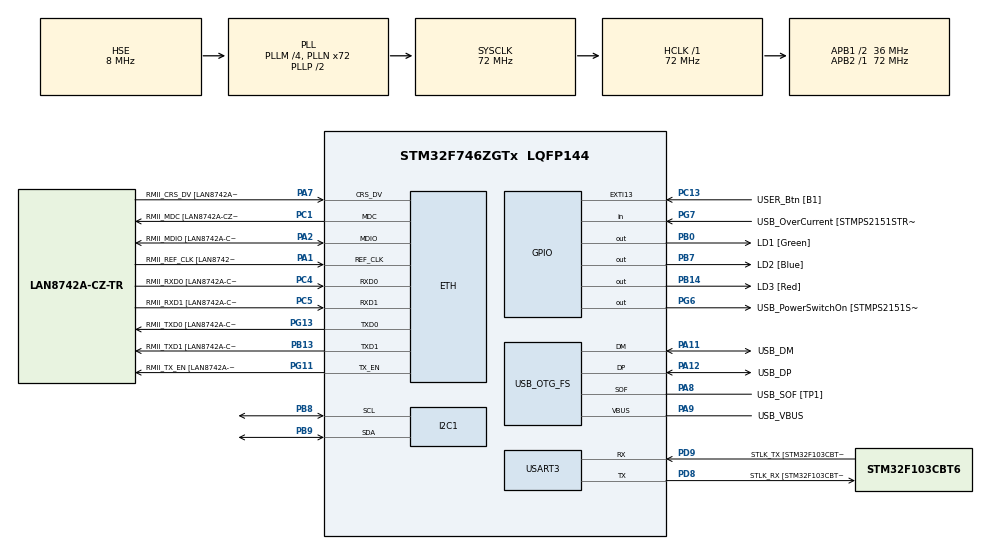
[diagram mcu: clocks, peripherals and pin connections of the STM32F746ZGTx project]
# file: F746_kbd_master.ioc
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ETH.MediaInterface=ETH_MEDIA_INTERFACE_RMII
ETH.PHY_Name=LAN8742A_PHY_ADDRESS
ETH.PHY_Value=0
ETH.PhyAddress=0
I2C1.Timing=0x00808CD2
Mcu.Family=STM32F7
Mcu.Name=STM32F746ZGTx
Mcu.Package=LQFP144
NVIC.PriorityGroup=NVIC_PRIORITYGROUP_4
PA1.GPIO_Label=RMII_REF_CLK [LAN8742A-CZ-TR_REFCLK0]
PA1.Mode=RMII
PA1.Signal=ETH_REF_CLK
PA10.GPIO_Label=USB_ID
PA10.Signal=USB_OTG_FS_ID
PA11.GPIO_Label=USB_DM
PA11.Mode=Device_Only
PA11.Signal=USB_OTG_FS_DM
PA12.GPIO_Label=USB_DP
PA12.Mode=Device_Only
PA12.Signal=USB_OTG_FS_DP
PA13.GPIO_Label=TMS
PA13.Mode=Serial_Wire
PA13.Signal=SYS_JTMS-SWDIO
PA14.GPIO_Label=TCK
PA14.Mode=Serial_Wire
PA14.Signal=SYS_JTCK-SWCLK
PA2.GPIO_Label=RMII_MDIO [LAN8742A-CZ-TR_MDIO]
PA2.Mode=RMII
PA2.Signal=ETH_MDIO
PA7.GPIO_Label=RMII_CRS_DV [LAN8742A-CZ-TR_CRS_DV]
PA7.Mode=RMII
PA7.Signal=ETH_CRS_DV
PA8.GPIO_Label=USB_SOF [TP1]
PA8.Mode=Activate_SOF_FS
PA8.Signal=USB_OTG_FS_SOF
PA9.GPIO_Label=USB_VBUS
PA9.Mode=Activate_VBUS
PA9.Signal=USB_OTG_FS_VBUS
PB0.GPIO_Label=LD1 [Green]
PB0.Signal=GPIO_Output
PB13.GPIO_Label=RMII_TXD1 [LAN8742A-CZ-TR_TXD1]
PB13.Mode=RMII
PB13.Signal=ETH_TXD1
PB14.GPIO_Label=LD3 [Red]
PB14.Signal=GPIO_Output
PB3.GPIO_Label=SW0
PB3.Signal=SYS_JTDO-SWO
PB7.GPIO_Label=LD2 [Blue]
PB7.Signal=GPIO_Output
PB8.Mode=I2C
PB8.Signal=I2C1_SCL
PB9.Mode=I2C
PB9.Signal=I2C1_SDA
PC1.GPIO_Label=RMII_MDC [LAN8742A-CZ-TR_MDC]
PC1.Mode=RMII
PC1.Signal=ETH_MDC
PC13.GPIO_Label=USER_Btn [B1]
PC13.Signal=GPXTI13
PC14/OSC32_IN.Mode=LSE-External-Oscillator
PC14/OSC32_IN.Signal=RCC_OSC32_IN
PC15/OSC32_OUT.Mode=LSE-External-Oscillator
PC15/OSC32_OUT.Signal=RCC_OSC32_OUT
PC4.GPIO_Label=RMII_RXD0 [LAN8742A-CZ-TR_RXD0]
PC4.Mode=RMII
PC4.Signal=ETH_RXD0
PC5.GPIO_Label=RMII_RXD1 [LAN8742A-CZ-TR_RXD1]
PC5.Mode=RMII
PC5.Signal=ETH_RXD1
PD8.GPIO_Label=STLK_RX [STM32F103CBT6_PA3]
PD8.Mode=Asynchronous
PD8.Signal=USART3_TX
PD9.GPIO_Label=STLK_TX [STM32F103CBT6_PA2]
PD9.Mode=Asynchronous
PD9.Signal=USART3_RX
PG11.GPIO_Label=RMII_TX_EN [LAN8742A-CZ-TR_TXEN]
PG11.Mode=RMII
PG11.Signal=ETH_TX_EN
PG13.GPIO_Label=RMII_TXD0 [LAN8742A-CZ-TR_TXD0]
PG13.Mode=RMII
PG13.Signal=ETH_TXD0
PG6.GPIO_Label=USB_PowerSwitchOn [STMPS2151STR_EN]
PG6.Signal=GPIO_Output
PG7.GPIO_Label=USB_OverCurrent [STMPS2151STR_FAULT]
PG7.Signal=GPIO_Input
PH0/OSC_IN.GPIO_Label=MCO [STM32F103CBT6_PA8]
PH0/OSC_IN.Mode=HSE-External-Clock-Source
PH0/OSC_IN.Signal=RCC_OSC_IN
PH1/OSC_OUT.Mode=HSE-External-Clock-Source
PH1/OSC_OUT.Signal=RCC_OSC_OUT
ProjectManager.HeapSize=0x200
ProjectManager.StackSize=0x400
ProjectManager.TargetToolchain=STM32CubeIDE
RCC.48MHZClocksFreq_Value=24000000
RCC.AHBFreq_Value=72000000
RCC.APB1CLKDivider=RCC_HCLK_DIV2
RCC.APB1Freq_Value=36000000
RCC.APB1TimFreq_Value=72000000
RCC.APB2Freq_Value=72000000
RCC.APB2TimFreq_Value=72000000
RCC.CortexFreq_Value=72000000
RCC.HCLKFreq_Value=72000000
RCC.HSE_VALUE=8000000
RCC.HSI_VALUE=16000000
RCC.PLLM=4
RCC.PLLMUL=RCC_PLL_MUL9
RCC.PLLN=72
RCC.PLLQ=3
RCC.PRESCALERUSB=RCC_USBCLKSOURCE_PLL_DIV1_5
RCC.SYSCLKFreq_VALUE=72000000
RCC.SYSCLKSource=RCC_SYSCLKSOURCE_PLLCLK
RCC.SYSCLKSourceVirtual=RCC_SYSCLKSOURCE_PLLCLK
RCC.USBFreq_Value=48000000
RCC.VCOOutputFreq_Value=144000000
USART3.VirtualMode-Asynchronous=VM_ASYNC
USB_OTG_FS.VirtualMode=Device_Only
board=NUCLEO-F746ZG

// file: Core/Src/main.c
/* USER CODE BEGIN Header */
/**
  ******************************************************************************
  * @file           : main.c
  * @brief          : Main program body
  ******************************************************************************
  * @attention
  *
  * <h2><center>&copy; Copyright (c) 2020 STMicroelectronics.
  * All rights reserved.</center></h2>
  *
  * This software component is licensed by ST under BSD 3-Clause license,
  * the "License"; You may not use this file except in compliance with the
  * License. You may obtain a copy of the License at:
  *                        opensource.org/licenses/BSD-3-Clause
  *
  ******************************************************************************
  */
/* USER CODE END Header */
#include "main.h"

/* USER CODE BEGIN Includes */
#include "RetroKbdI2C.h"
/* USER CODE END Includes */
#include <stdio.h>
#include <string.h>

ETH_HandleTypeDef heth;

I2C_HandleTypeDef hi2c1;

UART_HandleTypeDef huart3;

PCD_HandleTypeDef hpcd_USB_OTG_FS;

/* USER CODE BEGIN PV */

uint8_t buf[32];
//static char status_str[RKP_STATUS_STR_LEN];

/* USER CODE END PV */

void SystemClock_Config(void);
static void MX_GPIO_Init(void);
static void MX_ETH_Init(void);
static void MX_USART3_UART_Init(void);
static void MX_USB_OTG_FS_PCD_Init(void);
static void MX_I2C1_Init(void);

/* USER CODE BEGIN 0 */

void Print_HAL_Reply(HAL_StatusTypeDef ret_val){
	char status_str[80];

    switch(ret_val){
	case HAL_OK:
		break;
	case HAL_ERROR:
		strncat(status_str,"HAL_ERROR", 80 );
		break;
	case HAL_BUSY:
		strncat(status_str,"HAL_BUSY", 80 );
		break;
	case HAL_TIMEOUT:
		strncat(status_str,"HAL_TIMEOUT",80 );
		break;
	}
	HAL_UART_Transmit(&huart3, (uint8_t*)status_str, strlen(status_str),HAL_MAX_DELAY);
	HAL_UART_Transmit(&huart3, "\r\n", 2, HAL_MAX_DELAY);

}

/* USER CODE END 0 */

int main(void)
{
  /* USER CODE BEGIN 1 */
	uint8_t  key_val;
	char txt[80];
	char pressed_key;

  /* USER CODE END 1 */

  /* MCU Configuration--------------------------------------------------------*/

  /* Reset of all peripherals, Initializes the Flash interface and the Systick. */
  HAL_Init();

  /* Configure the system clock */
  SystemClock_Config();

  /* Initialize all configured peripherals */
  MX_GPIO_Init();
  MX_ETH_Init();
  MX_USART3_UART_Init();
  MX_USB_OTG_FS_PCD_Init();
  MX_I2C1_Init();
  /* USER CODE BEGIN 2 */
  kbd_i2c_init( &hi2c1, RKP_I2C_ADDR, RKP_MAX_DELAY);

  sprintf(txt,"Keypad I2C address %x \r\n", RKP_I2C_ADDR);
  HAL_UART_Transmit(&huart3, (uint8_t*)txt, strlen(txt),HAL_MAX_DELAY);
  //Print_HAL_Reply(ret_val);

  /* USER CODE END 2 */

  /* Infinite loop */
  /* USER CODE BEGIN WHILE */
  while (1)
  {
	  kbd_i2c_rd_key( &pressed_key);
	  //kbd_i2c_rd_key(uin8_t *pressed_key)
	  if (pressed_key != 0 ){
		  txt[0] = pressed_key;
		  txt[1] = 0x00;
		   HAL_UART_Transmit(&huart3, (uint8_t*)txt, strlen(txt), HAL_MAX_DELAY);
	   }
	   HAL_Delay(500);
    /* USER CODE END WHILE */

  }
}

void SystemClock_Config(void)
{
  RCC_OscInitTypeDef RCC_OscInitStruct = {0};
  RCC_ClkInitTypeDef RCC_ClkInitStruct = {0};
  RCC_PeriphCLKInitTypeDef PeriphClkInitStruct = {0};

  /** Configure LSE Drive Capability
  */
  HAL_PWR_EnableBkUpAccess();
  /** Configure the main internal regulator output voltage
  */
  __HAL_RCC_PWR_CLK_ENABLE();
  __HAL_PWR_VOLTAGESCALING_CONFIG(PWR_REGULATOR_VOLTAGE_SCALE3);
  /** Initializes the RCC Oscillators according to the specified parameters
  * in the RCC_OscInitTypeDef structure.
  */
  RCC_OscInitStruct.OscillatorType = RCC_OSCILLATORTYPE_HSE;
  RCC_OscInitStruct.HSEState = RCC_HSE_BYPASS;
  RCC_OscInitStruct.PLL.PLLState = RCC_PLL_ON;
  RCC_OscInitStruct.PLL.PLLSource = RCC_PLLSOURCE_HSE;
  RCC_OscInitStruct.PLL.PLLM = 4;
  RCC_OscInitStruct.PLL.PLLN = 72;
  RCC_OscInitStruct.PLL.PLLP = RCC_PLLP_DIV2;
  RCC_OscInitStruct.PLL.PLLQ = 3;
  if (HAL_RCC_OscConfig(&RCC_OscInitStruct) != HAL_OK)
  {
    Error_Handler();
  }
  /** Initializes the CPU, AHB and APB buses clocks
  */
  RCC_ClkInitStruct.ClockType = RCC_CLOCKTYPE_HCLK|RCC_CLOCKTYPE_SYSCLK
                              |RCC_CLOCKTYPE_PCLK1|RCC_CLOCKTYPE_PCLK2;
  RCC_ClkInitStruct.SYSCLKSource = RCC_SYSCLKSOURCE_PLLCLK;
  RCC_ClkInitStruct.AHBCLKDivider = RCC_SYSCLK_DIV1;
  RCC_ClkInitStruct.APB1CLKDivider = RCC_HCLK_DIV2;
  RCC_ClkInitStruct.APB2CLKDivider = RCC_HCLK_DIV1;

  if (HAL_RCC_ClockConfig(&RCC_ClkInitStruct, FLASH_LATENCY_2) != HAL_OK)
  {
    Error_Handler();
  }
  PeriphClkInitStruct.PeriphClockSelection = RCC_PERIPHCLK_USART3|RCC_PERIPHCLK_I2C1
                              |RCC_PERIPHCLK_CLK48;
  PeriphClkInitStruct.Usart3ClockSelection = RCC_USART3CLKSOURCE_PCLK1;
  PeriphClkInitStruct.I2c1ClockSelection = RCC_I2C1CLKSOURCE_PCLK1;
  PeriphClkInitStruct.Clk48ClockSelection = RCC_CLK48SOURCE_PLL;
  if (HAL_RCCEx_PeriphCLKConfig(&PeriphClkInitStruct) != HAL_OK)
  {
    Error_Handler();
  }
}

static void MX_ETH_Init(void)
{

  heth.Instance = ETH;
  heth.Init.AutoNegotiation = ETH_AUTONEGOTIATION_ENABLE;
  heth.Init.PhyAddress = LAN8742A_PHY_ADDRESS;
  heth.Init.MACAddr[0] =   0x00;
  heth.Init.MACAddr[1] =   0x80;
  heth.Init.MACAddr[2] =   0xE1;
  heth.Init.MACAddr[3] =   0x00;
  heth.Init.MACAddr[4] =   0x00;
  heth.Init.MACAddr[5] =   0x00;
  heth.Init.RxMode = ETH_RXPOLLING_MODE;
  heth.Init.ChecksumMode = ETH_CHECKSUM_BY_HARDWARE;
  heth.Init.MediaInterface = ETH_MEDIA_INTERFACE_RMII;

  if (HAL_ETH_Init(&heth) != HAL_OK)
  {
    Error_Handler();
  }

}

static void MX_I2C1_Init(void)
{

  hi2c1.Instance = I2C1;
  hi2c1.Init.Timing = 0x00808CD2;
  hi2c1.Init.OwnAddress1 = 0;
  hi2c1.Init.AddressingMode = I2C_ADDRESSINGMODE_7BIT;
  hi2c1.Init.DualAddressMode = I2C_DUALADDRESS_DISABLE;
  hi2c1.Init.OwnAddress2 = 0;
  hi2c1.Init.OwnAddress2Masks = I2C_OA2_NOMASK;
  hi2c1.Init.GeneralCallMode = I2C_GENERALCALL_DISABLE;
  hi2c1.Init.NoStretchMode = I2C_NOSTRETCH_DISABLE;
  if (HAL_I2C_Init(&hi2c1) != HAL_OK)
  {
    Error_Handler();
  }
  /** Configure Analogue filter
  */
  if (HAL_I2CEx_ConfigAnalogFilter(&hi2c1, I2C_ANALOGFILTER_ENABLE) != HAL_OK)
  {
    Error_Handler();
  }
  /** Configure Digital filter
  */
  if (HAL_I2CEx_ConfigDigitalFilter(&hi2c1, 0) != HAL_OK)
  {
    Error_Handler();
  }

}

static void MX_USART3_UART_Init(void)
{

  huart3.Instance = USART3;
  huart3.Init.BaudRate = 115200;
  huart3.Init.WordLength = UART_WORDLENGTH_8B;
  huart3.Init.StopBits = UART_STOPBITS_1;
  huart3.Init.Parity = UART_PARITY_NONE;
  huart3.Init.Mode = UART_MODE_TX_RX;
  huart3.Init.HwFlowCtl = UART_HWCONTROL_NONE;
  huart3.Init.OverSampling = UART_OVERSAMPLING_16;
  huart3.Init.OneBitSampling = UART_ONE_BIT_SAMPLE_DISABLE;
  huart3.AdvancedInit.AdvFeatureInit = UART_ADVFEATURE_NO_INIT;
  if (HAL_UART_Init(&huart3) != HAL_OK)
  {
    Error_Handler();
  }

}

static void MX_USB_OTG_FS_PCD_Init(void)
{

  hpcd_USB_OTG_FS.Instance = USB_OTG_FS;
  hpcd_USB_OTG_FS.Init.dev_endpoints = 6;
  hpcd_USB_OTG_FS.Init.speed = PCD_SPEED_FULL;
  hpcd_USB_OTG_FS.Init.dma_enable = DISABLE;
  hpcd_USB_OTG_FS.Init.phy_itface = PCD_PHY_EMBEDDED;
  hpcd_USB_OTG_FS.Init.Sof_enable = ENABLE;
  hpcd_USB_OTG_FS.Init.low_power_enable = DISABLE;
  hpcd_USB_OTG_FS.Init.lpm_enable = DISABLE;
  hpcd_USB_OTG_FS.Init.vbus_sensing_enable = ENABLE;
  hpcd_USB_OTG_FS.Init.use_dedicated_ep1 = DISABLE;
  if (HAL_PCD_Init(&hpcd_USB_OTG_FS) != HAL_OK)
  {
    Error_Handler();
  }

}

static void MX_GPIO_Init(void)
{
  GPIO_InitTypeDef GPIO_InitStruct = {0};

  /* GPIO Ports Clock Enable */
  __HAL_RCC_GPIOC_CLK_ENABLE();
  __HAL_RCC_GPIOH_CLK_ENABLE();
  __HAL_RCC_GPIOA_CLK_ENABLE();
  __HAL_RCC_GPIOB_CLK_ENABLE();
  __HAL_RCC_GPIOD_CLK_ENABLE();
  __HAL_RCC_GPIOG_CLK_ENABLE();

  /*Configure GPIO pin Output Level */
  HAL_GPIO_WritePin(GPIOB, LD1_Pin|LD3_Pin|LD2_Pin, GPIO_PIN_RESET);

  /*Configure GPIO pin Output Level */
  HAL_GPIO_WritePin(USB_PowerSwitchOn_GPIO_Port, USB_PowerSwitchOn_Pin, GPIO_PIN_RESET);

  /*Configure GPIO pin : USER_Btn_Pin */
  GPIO_InitStruct.Pin = USER_Btn_Pin;
  GPIO_InitStruct.Mode = GPIO_MODE_IT_RISING;
  GPIO_InitStruct.Pull = GPIO_NOPULL;
  HAL_GPIO_Init(USER_Btn_GPIO_Port, &GPIO_InitStruct);

  /*Configure GPIO pins : LD1_Pin LD3_Pin LD2_Pin */
  GPIO_InitStruct.Pin = LD1_Pin|LD3_Pin|LD2_Pin;
  GPIO_InitStruct.Mode = GPIO_MODE_OUTPUT_PP;
  GPIO_InitStruct.Pull = GPIO_NOPULL;
  GPIO_InitStruct.Speed = GPIO_SPEED_FREQ_LOW;
  HAL_GPIO_Init(GPIOB, &GPIO_InitStruct);

  /*Configure GPIO pin : USB_PowerSwitchOn_Pin */
  GPIO_InitStruct.Pin = USB_PowerSwitchOn_Pin;
  GPIO_InitStruct.Mode = GPIO_MODE_OUTPUT_PP;
  GPIO_InitStruct.Pull = GPIO_NOPULL;
  GPIO_InitStruct.Speed = GPIO_SPEED_FREQ_LOW;
  HAL_GPIO_Init(USB_PowerSwitchOn_GPIO_Port, &GPIO_InitStruct);

  /*Configure GPIO pin : USB_OverCurrent_Pin */
  GPIO_InitStruct.Pin = USB_OverCurrent_Pin;
  GPIO_InitStruct.Mode = GPIO_MODE_INPUT;
  GPIO_InitStruct.Pull = GPIO_NOPULL;
  HAL_GPIO_Init(USB_OverCurrent_GPIO_Port, &GPIO_InitStruct);

}

void Error_Handler(void)
{
}

/************************ (C) COPYRIGHT STMicroelectronics *****END OF FILE****/
